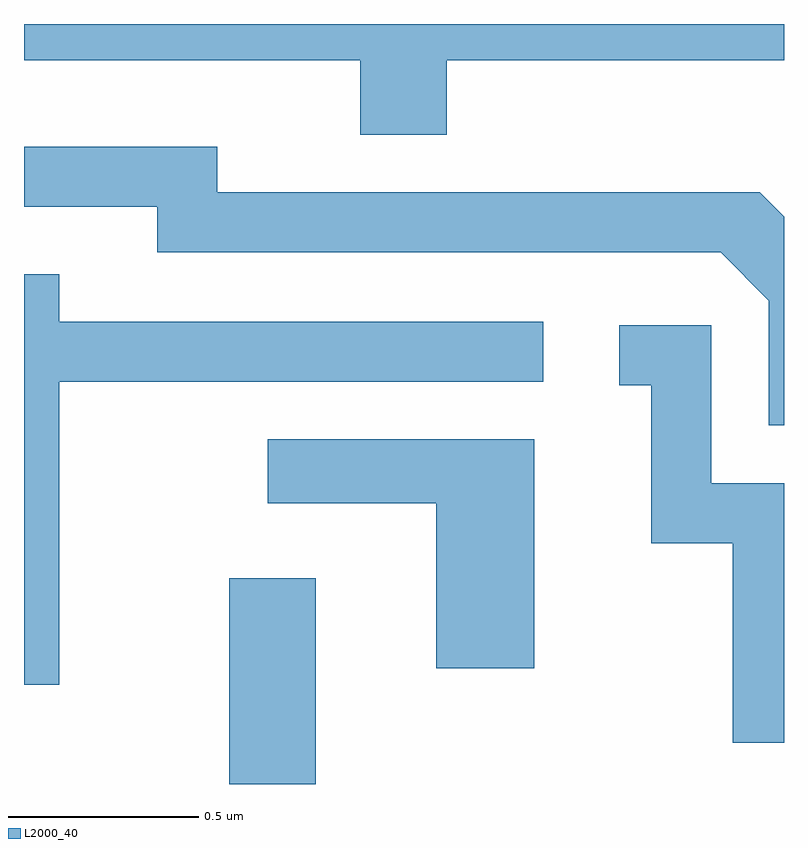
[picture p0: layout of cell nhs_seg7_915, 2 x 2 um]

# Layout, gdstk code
import gdstk
lib = gdstk.Library(unit=1e-6, precision=1e-09)
def R(c, l, rs):  # rectangles x0, y0, x1, y1
    for r in rs: c.add(gdstk.rectangle(r[:2], r[2:], *l))
def P(c, l, *ps):  # polygons
    for p in ps: c.add(gdstk.Polygon(p, *l))
L2000_40 = (2000, 40)

nhs_seg7_915 = lib.new_cell('nhs_seg7_915')
R(nhs_seg7_915, L2000_40, [(192.151,1761.252,192.379,1761.794)])
P(nhs_seg7_915, L2000_40, [(192.724,1763.156),(193.611,1763.156),(193.611,1763.252),(191.611,1763.252),(191.611,1763.156),(192.496,1763.156),(192.496,1762.961),(192.724,1762.961)],
  [(193.611,1762.745),(193.547,1762.809),(192.119,1762.809),(192.119,1762.929),(191.611,1762.929),(191.611,1762.771),(191.961,1762.771),(191.961,1762.651),(193.444,1762.651),(193.571,1762.524),(193.571,1762.196),(193.611,1762.196)],
  [(191.704,1762.311),(192.978,1762.311),(192.978,1762.469),(191.704,1762.469),(191.704,1762.593),(191.611,1762.593),(191.611,1761.513),(191.704,1761.513)],
  [(193.611,1762.044),(193.419,1762.044),(193.419,1762.459),(193.178,1762.459),(193.178,1762.301),(193.261,1762.301),(193.261,1761.886),(193.476,1761.886),(193.476,1761.361),(193.611,1761.361)],
  [(192.954,1762.159),(192.253,1762.159),(192.253,1761.991),(192.696,1761.991),(192.696,1761.556),(192.954,1761.556)])

lib.write_gds('nhs_seg7_915.gds')
